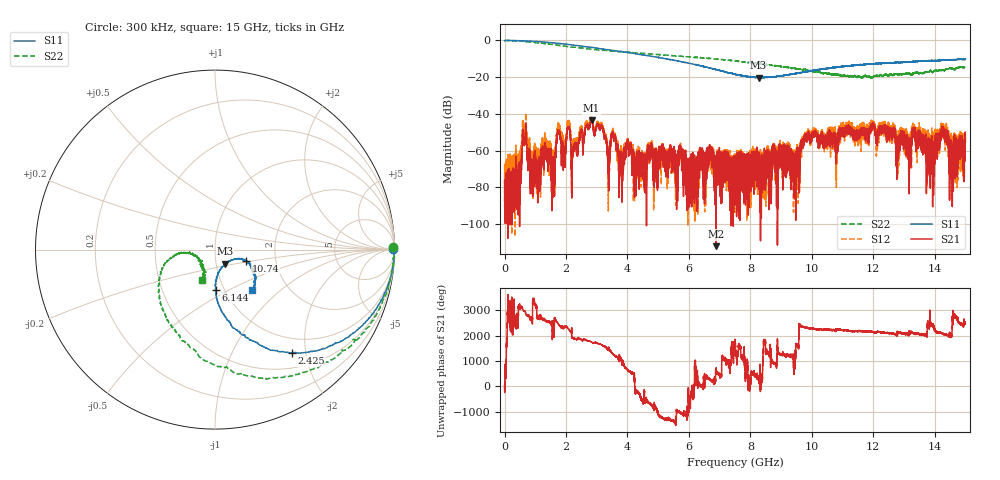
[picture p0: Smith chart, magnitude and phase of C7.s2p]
!Agilent Technologies,N5230C,SG49000117,A.08.50.07
!Agilent N5230C: A.08.50.07
!Date: Monday, December 11, 2023 23:07:17
!Correction: S11(Full 2 Port(1,2))
!S21(Full 2 Port(1,2))
!S12(Full 2 Port(1,2))
!S22(Full 2 Port(1,2))
!S2P File: Measurements: S11, S21, S12, S22:
# Hz S  RI  R 50
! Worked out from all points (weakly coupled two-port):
!   20001 points, 300 kHz to 15 GHz, reference 50 ohm
!   highest |S21| = -43.59 dB at 2.831 GHz (marker M1); lowest = -112.1 dB at 6.89 GHz (marker M2)
!   lowest |S11| = -20.3 dB at 8.268 GHz (marker M3), VSWR 1.21, Z = 55.2 - j8.73 ohm
!   |S11| at or under -10 dB: 5.256999 GHz to 5.257891 GHz (892.7 kHz wide, 0.017 % of centre); 5.26 GHz to end of sweep
!   |S22| runs from -20.5 to 0.0 dB; largest |S21 - S12| = 0.0053
!   S11 on the Smith chart (normalised r, x): 300 kHz: open; 2.425 GHz: 0.74, -1.75; 6.144 GHz: 0.91, -0.43; 10.74 GHz: 1.40, -0.18; 15 GHz: 1.34, -0.67
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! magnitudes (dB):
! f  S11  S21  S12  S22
! 300 kHz  -0.1  -75.9  -67.6  -0.1
! 453.3 MHz  -0.1  -71.7  -70.9  -0.3
! 644.5 MHz  -0.2  -56.9  -51.1  -0.5
! 1.104 GHz  -0.7  -68.6  -65.6  -1.2
! 1.367 GHz  -1.0  -62.1  -60.6  -1.8
! 1.594 GHz  -1.4  -70.4  -64.2  -2.2
! 1.758 GHz  -1.6  -49.2  -46.0  -2.7
! 2.425 GHz  -2.9  -55.3  -53.7  -3.9
! 2.501 GHz  -3.1  -48.9  -46.9  -4.1
! 2.831 GHz  -3.7  -43.6  -42.1  -4.9
! 3.552 GHz  -5.5  -53.2  -52.7  -5.9
! 3.783 GHz  -6.0  -67.3  -57.4  -6.1
! 5 GHz  -9.2  -61.6  -73.6  -7.7
! 6.144 GHz  -13.0  -73.4  -71.4  -9.2
! 6.89 GHz  -15.9  -112.1  -64.6  -10.2
! 7.5 GHz  -18.3  -68.4  -65.1  -11.2
! 8.268 GHz  -20.3  -67.0  -69.2  -12.7
! 9.436 GHz  -18.1  -70.0  -70.4  -15.2
! 10 GHz  -16.4  -51.9  -50.7  -16.5
! 10.74 GHz  -14.8  -53.2  -53.7  -18.5
! 12.5 GHz  -12.2  -47.4  -46.6  -19.2
! 15 GHz  -10.2  -55.1  -52.3  -14.8
